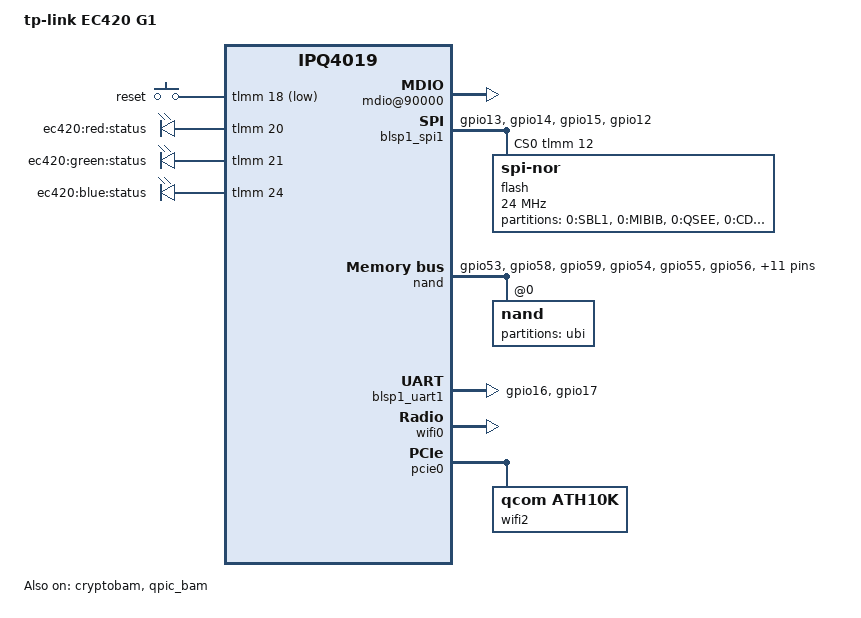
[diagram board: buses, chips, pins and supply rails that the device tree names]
// SPDX-License-Identifier: GPL-2.0-or-later OR MIT

#include "qcom-ipq4019.dtsi"
#include <dt-bindings/gpio/gpio.h>
#include <dt-bindings/input/input.h>
#include <dt-bindings/soc/qcom,tcsr.h>

/ {
	model = "tp-link EC420 G1";
	compatible = "tp-link,ec420-g1";

	aliases {
		led-boot = &led_green;
		led-failsafe = &led_green;
		led-running = &led_green;
		led-upgrade = &led_green;
	};

	soc {
		mdio@90000 {
			status = "okay";
		};

		ess-psgmii@98000 {
			status = "okay";
		};

		tcsr@1949000 {
			compatible = "qcom,tcsr";
			reg = <0x1949000 0x100>;
			qcom,wifi_glb_cfg = <TCSR_WIFI_GLB_CFG>;
		};

		ess_tcsr@1953000 {
			compatible = "qcom,tcsr";
			reg = <0x1953000 0x1000>;
			qcom,ess-interface-select = <TCSR_ESS_PSGMII>;
		};

		tcsr@1957000 {
			compatible = "qcom,tcsr";
			reg = <0x1957000 0x100>;
			qcom,wifi_noc_memtype_m0_m2 = <TCSR_WIFI_NOC_MEMTYPE_M0_M2>;
		};

		crypto@8e3a000 {
			status = "okay";
		};

		watchdog@b017000 {
			status = "okay";
		};

		ess-switch@c000000 {
			status = "okay";
            switch_mac_mode = <0x0>; /* mac mode for RGMII RMII */
            switch_initvlas = <0x0007c 0x54>; /* port0 status */
            switch_lan_bmp = <0x10>;
		};

		edma@c080000 {
            status = "okay";
        };
    };

	key {
		compatible = "gpio-keys";

		button@1 {
            label = "reset";
            linux,code = <KEY_RESTART>;
            gpios = <&tlmm 18 GPIO_ACTIVE_LOW>;
            linux,input-type = <1>;
        };
	};

	leds {
		compatible = "gpio-leds";

		led_red {
			label = "ec420:red:status";
			gpios = <&tlmm 20 GPIO_ACTIVE_HIGH>;
		};

		led_green: power {
			label = "ec420:green:status";
			gpios = <&tlmm 21 GPIO_ACTIVE_HIGH>;
		};

		led_blue {
			label = "ec420:blue:status";
			gpios = <&tlmm 24 GPIO_ACTIVE_HIGH>;
		};
	};
};

&tlmm {
	serial_0_pins: serial_pinmux {
		mux {
			pins = "gpio16", "gpio17";
			function = "blsp_uart0";
			bias-disable;
		};
	};

spi_0_pins: spi_0_pinmux {
	pinmux {
		function = "blsp_spi0";
		pins = "gpio13", "gpio14", "gpio15";
		drive-strength = <12>;
		bias-disable;
	};

	pinmux_cs {
		function = "gpio";
		pins = "gpio12";
		drive-strength = <2>;
		bias-disable;
		output-high;
	};
};

nand_pins: nand_pins {
	pullups {
		pins = "gpio53", "gpio58", "gpio59";
		function = "qpic";
		bias-pull-up;
	};

	pulldowns {
		pins = "gpio54", "gpio55", "gpio56",
		       "gpio57", "gpio60", "gpio61",
		       "gpio62", "gpio63", "gpio64",
		       "gpio65", "gpio66", "gpio67",
		       "gpio68", "gpio69";
		function = "qpic";
		bias-pull-down;
	};
	};
};

&cryptobam {
	status = "okay";
};

&blsp1_spi1 {
	pinctrl-0 = <&spi_0_pins>;
	pinctrl-names = "default";
	status = "okay";
	cs-gpios = <&tlmm 12 GPIO_ACTIVE_HIGH>;

	flash@0 {
		#address-cells = <1>;
		#size-cells = <1>;
		compatible = "jedec,spi-nor";
		reg = <0>;
		linux,modalias = "m25p80", "gd25q256";
		spi-max-frequency = <24000000>;

		partitions {
			compatible = "fixed-partitions";
			#address-cells = <1>;
			#size-cells = <1>;

			partition0@0 {
				label = "0:SBL1";
				reg = <0x00000000 0x00040000>;
				read-only;
			};
			partition1@40000 {
				label = "0:MIBIB";
				reg = <0x00040000 0x00020000>;
				read-only;
			};
			partition2@60000 {
				label = "0:QSEE";
				reg = <0x00060000 0x00060000>;
				read-only;
			};
			partition3@c0000 {
				label = "0:CDT";
				reg = <0x000c0000 0x00010000>;
				read-only;
			};
			partition4@d0000 {
				label = "0:DDRPARAMS";
				reg = <0x000d0000 0x00010000>;
				read-only;
			};
			partition5@e0000 {
				label = "0:APPSBLENV";
				reg = <0x000e0000 0x00010000>;
			};
			partition6@f0000 {
				label = "0:APPSBL";
				reg = <0x000f0000 0x00080000>;
				read-only;
			};
			partition7@170000 {
				label = "0:ART";
				reg = <0x00170000 0x00010000>;
				read-only;
			};
			partition8@180000 {
				label = "product_info";
				reg = <0x00180000 0x00010000>;
			};
			partition9@190000 {
				label = "factory_fw";
				reg = <0x00190000 0x01e70000>;
			};
		};
	};
};

&nand {
	pinctrl-0 = <&nand_pins>;
	pinctrl-names = "default";
	status = "okay";

	nand@0 {
		partitions {
			compatible = "fixed-partitions";
			#address-cells = <1>;
			#size-cells = <1>;

			partition@0 {
				label = "ubi";
				reg = <0x00000000 0x10000000>;
			};
		};
	};
};

&blsp_dma {
	status = "okay";
};

&blsp1_uart1 {
	pinctrl-0 = <&serial_0_pins>;
	pinctrl-names = "default";
	status = "okay";
};

&qpic_bam {
	status = "okay";
};

&wifi0 {
	status = "okay";
};

&wifi1 {
	status = "disabled";
};

&pcie0 {
	status = "okay";
	perst-gpio = <&tlmm 38 GPIO_ACTIVE_LOW>;
	wake-gpio = <&tlmm 40 GPIO_ACTIVE_LOW>;

	bridge@0,0 {
		reg = <0x00000000 0 0 0 0>;
		#address-cells = <3>;
		#size-cells = <2>;
		ranges;

		wifi2: wifi@1,0 {
			compatible = "qcom,ath10k";
			status = "okay";
			reg = <0x00010000 0 0 0 0>;
		};
	};
};

